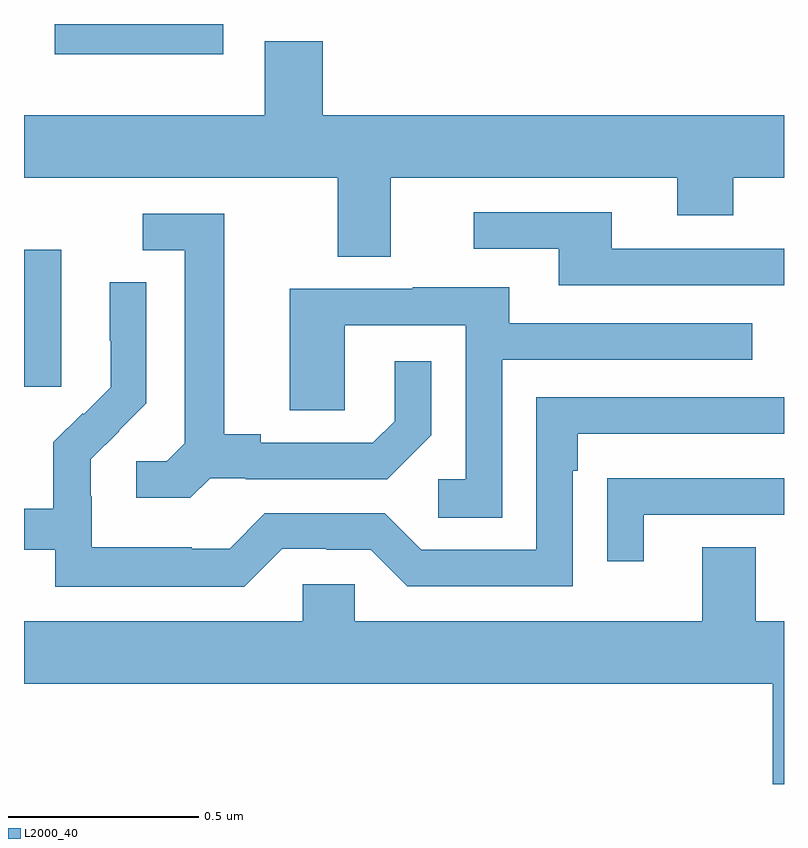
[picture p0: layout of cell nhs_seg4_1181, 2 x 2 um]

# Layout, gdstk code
import gdstk
lib = gdstk.Library(unit=1e-6, precision=1e-09)
def R(c, l, rs):  # rectangles x0, y0, x1, y1
    for r in rs: c.add(gdstk.rectangle(r[:2], r[2:], *l))
def P(c, l, *ps):  # polygons
    for p in ps: c.add(gdstk.Polygon(p, *l))
L2000_40 = (2000, 40)

nhs_seg4_1181 = lib.new_cell('nhs_seg4_1181')
R(nhs_seg4_1181, L2000_40, [(125,786.945,125.098,787.306), (125.081,787.82,125.524,787.9)])
P(nhs_seg4_1181, L2000_40, [(125.965,787.496),(126.719,787.496),(126.719,787.397),(126.867,787.397),(126.867,787.496),(127,787.496),(127,787.66),(125.786,787.66),(125.786,787.855),(125.633,787.855),(125.633,787.66),(125,787.66),(125,787.496),(125.825,787.496),(125.825,787.288),(125.965,787.288)],
  [(127,787.308),(126.547,787.308),(126.547,787.404),(126.183,787.404),(126.183,787.308),(126.407,787.308),(126.407,787.212),(127,787.212)],
  [(125.49,786.705),(125.584,786.705),(125.584,786.702),(125.956,786.702),(126.072,786.818),(126.072,787.012),(125.975,787.012),(125.975,786.855),(125.918,786.798),(125.623,786.798),(125.623,786.821),(125.527,786.821),(125.527,787.401),(125.313,787.401),(125.313,787.305),(125.423,787.305),(125.423,786.797),(125.376,786.75),(125.295,786.75),(125.295,786.653),(125.438,786.653)],
  [(125.679,786.519),(125.795,786.519),(125.795,786.516),(125.913,786.516),(126.009,786.42),(126.444,786.42),(126.444,786.725),(126.457,786.725),(126.457,786.822),(127,786.822),(127,786.918),(126.348,786.918),(126.348,786.516),(126.045,786.516),(125.949,786.612),(125.634,786.612),(125.541,786.519),(125.441,786.519),(125.441,786.523),(125.178,786.523),(125.178,786.657),(125.176,786.657),(125.176,786.754),(125.25,786.828),(125.249,786.829),(125.322,786.902),(125.322,787.22),(125.226,787.22),(125.226,787.066),(125.228,787.066),(125.228,786.944),(125.157,786.873),(125.154,786.876),(125.077,786.799),(125.077,786.625),(125,786.625),(125,786.516),(125.082,786.516),(125.082,786.419),(125.579,786.419)],
  [(126.258,787.017),(126.917,787.017),(126.917,787.113),(126.277,787.113),(126.277,787.207),(126.023,787.207),(126.023,787.203),(125.699,787.203),(125.699,786.883),(125.844,786.883),(125.844,787.107),(126.162,787.107),(126.162,786.702),(126.09,786.702),(126.09,786.601),(126.258,786.601)],
  [(126.631,786.609),(127,786.609),(127,786.705),(126.637,786.705),(126.637,786.704),(126.535,786.704),(126.535,786.486),(126.631,786.486)],
  [(127,786.328),(126.925,786.328),(126.925,786.523),(126.785,786.523),(126.785,786.328),(125.871,786.328),(125.871,786.426),(125.733,786.426),(125.733,786.328),(125,786.328),(125,786.164),(126.971,786.164),(126.971,785.9),(127,785.9)])

lib.write_gds('nhs_seg4_1181.gds')
